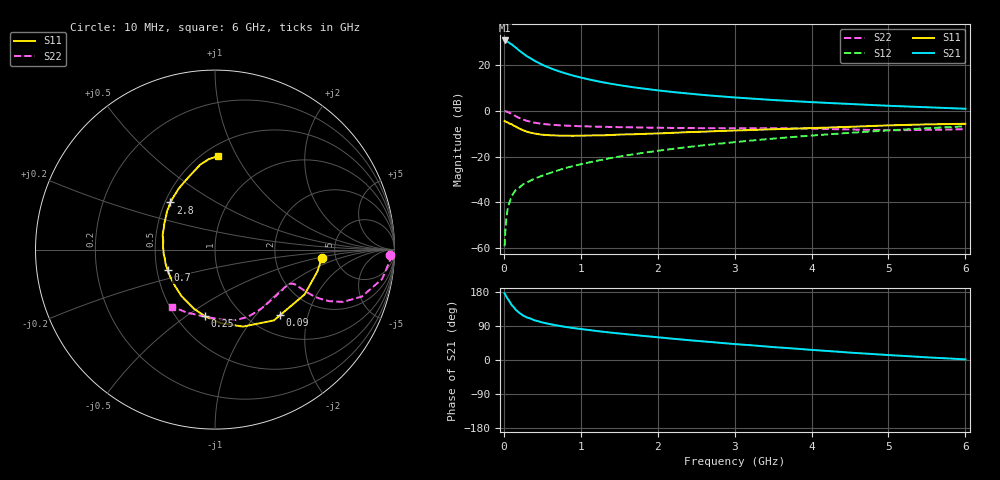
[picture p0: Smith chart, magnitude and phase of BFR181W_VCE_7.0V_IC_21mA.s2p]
! Infineon Technologies  Discrete & RF Semiconductors
! BFR181W
! VCE =  7.0 V,  IC =  21 mA
! Common Emitter S-Parameters:  Jan 2017
# GHz  S  MA  R  50
!  f  S11  S21  S12  S22
! GHz  MAG  ANG  MAG  ANG  MAG  ANG  MAG  ANG
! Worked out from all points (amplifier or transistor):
!   77 points, 10 MHz to 6 GHz, reference 50 ohm
!   highest |S21| = 30.7 dB at 10 MHz (marker M1)
!   |S21| within 3 dB of that: start of sweep to 150.1 MHz
!   unconditionally stable (mu >= 1): 690 MHz to 2.509 GHz
!   at 130 MHz: K = 0.41, MSG = 32.0 dB, |S12| = -35.8 dB
!   at 2.2 GHz: K = 1.03, MAG = 11.4 dB, |S12| = -16.7 dB
!   at 6 GHz: K = 0.83, MSG = 3.8 dB, |S12| = -6.8 dB
!   S11 on the Smith chart (normalised r, x): 10 MHz: 3.88, -0.54; 90 MHz: 1.36, -1.35; 250 MHz: 0.68, -0.59; 700 MHz: 0.57, -0.14; 2.8 GHz: 0.53, +0.32; 6 GHz: 0.59, +0.84
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0.01  0.5971 -4.3  34.46 176.1  0.0011 68.8  0.978 -1.6
0.02  0.5835 -12.0  33.83 171.9  0.0025 90.2  0.9759 -3.7
0.05  0.5584 -26.5  32.37 161.5  0.0071 78.4  0.9452 -10.0
0.09  0.5148 -45.2  29.09 149.1  0.012 74.1  0.8756 -16.0
0.1  0.5132 -50.2  28.51 145.6  0.0132 73.5  0.8599 -17.7
0.15  0.4562 -70.1  24.4 133.7  0.0184 66.4  0.7709 -22.2
0.2  0.4112 -85.4  20.76 124.5  0.0209 65.0  0.6982 -24.3
0.25  0.3759 -98.6  17.91 117.6  0.0247 64.5  0.6438 -25.1
0.3  0.3497 -109.5  15.59 112.4  0.0271 63.8  0.6026 -25.2
0.4  0.3192 -126.0  12.35 104.6  0.0329 66.6  0.5499 -24.7
0.5  0.3002 -138.6  10.13 99.1  0.0381 67.3  0.5184 -24.1
0.6  0.2921 -148.5  8.597 94.6  0.0438 68.6  0.4982 -23.7
0.7  0.2877 -156.9  7.448 90.8  0.0495 70.2  0.485 -23.5
0.9  0.2841 -170.0  5.878 84.4  0.0619 71.7  0.467 -24.1
1.1  0.2881 -179.9  4.875 79.3  0.0739 72.7  0.4561 -25.2
1.5  0.3023 164.9  3.639 70.0  0.1 73.1  0.4393 -29.3
2.1  0.3249 148.3  2.682 58.1  0.1402 71.7  0.4241 -38.5
2.8  0.3618 133.5  2.078 45.5  0.1911 68.6  0.4178 -51.5
3.1  0.3749 127.7  1.909 40.6  0.2142 66.5  0.4159 -57.1
4.1  0.4242 111.4  1.518 25.3  0.2959 59.3  0.4041 -76.0
5.1  0.4849 98.7  1.268 11.9  0.381 50.3  0.3767 -101.8
6  0.5206 88.3  1.11 1.6  0.4588 41.1  0.3976 -126.7
